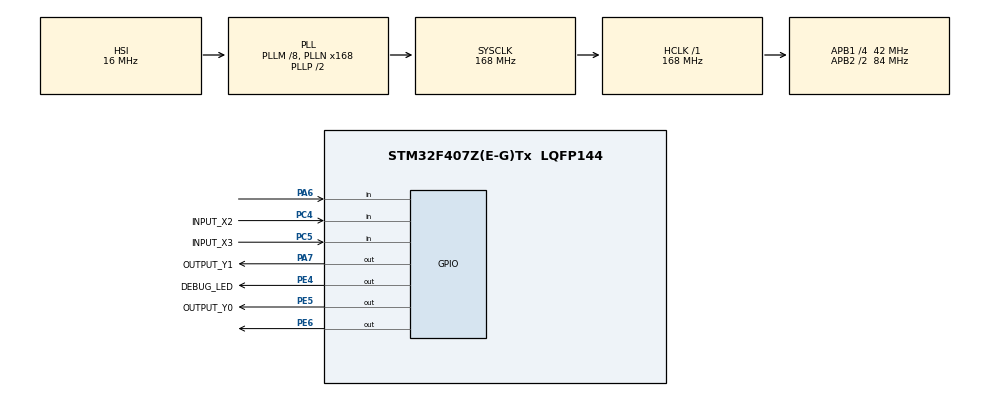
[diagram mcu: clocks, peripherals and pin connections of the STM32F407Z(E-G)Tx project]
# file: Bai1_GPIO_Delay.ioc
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Mcu.Family=STM32F4
Mcu.Name=STM32F407Z(E-G)Tx
Mcu.Package=LQFP144
NVIC.PriorityGroup=NVIC_PRIORITYGROUP_4
PA13.Mode=Serial_Wire
PA13.Signal=SYS_JTMS-SWDIO
PA14.Mode=Serial_Wire
PA14.Signal=SYS_JTCK-SWCLK
PA6.Signal=GPIO_Input
PA7.GPIO_Label=OUTPUT_Y1
PA7.GPIO_PuPd=GPIO_PULLDOWN
PA7.PinState=GPIO_PIN_RESET
PA7.Signal=GPIO_Output
PC4.GPIO_Label=INPUT_X2
PC4.Signal=GPIO_Input
PC5.GPIO_Label=INPUT_X3
PC5.Signal=GPIO_Input
PE4.GPIO_Label=DEBUG_LED
PE4.GPIO_PuPd=GPIO_PULLDOWN
PE4.Signal=GPIO_Output
PE5.GPIO_Label=OUTPUT_Y0
PE5.GPIO_PuPd=GPIO_PULLDOWN
PE5.Signal=GPIO_Output
PE6.Signal=GPIO_Output
PH0-OSC_IN.Mode=HSE-External-Oscillator
PH0-OSC_IN.Signal=RCC_OSC_IN
PH1-OSC_OUT.Mode=HSE-External-Oscillator
PH1-OSC_OUT.Signal=RCC_OSC_OUT
ProjectManager.HeapSize=0x200
ProjectManager.StackSize=0x400
ProjectManager.TargetToolchain=STM32CubeIDE
RCC.48MHZClocksFreq_Value=84000000
RCC.AHBFreq_Value=168000000
RCC.APB1CLKDivider=RCC_HCLK_DIV4
RCC.APB1Freq_Value=42000000
RCC.APB1TimFreq_Value=84000000
RCC.APB2CLKDivider=RCC_HCLK_DIV2
RCC.APB2Freq_Value=84000000
RCC.APB2TimFreq_Value=168000000
RCC.CortexFreq_Value=168000000
RCC.HCLKFreq_Value=168000000
RCC.HSE_VALUE=8000000
RCC.HSI_VALUE=16000000
RCC.LSE_VALUE=32768
RCC.PLLM=8
RCC.PLLN=168
RCC.SYSCLKFreq_VALUE=168000000
RCC.SYSCLKSource=RCC_SYSCLKSOURCE_PLLCLK
RCC.VCOOutputFreq_Value=336000000
board=custom

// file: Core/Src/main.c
/* USER CODE BEGIN Header */
/**
  ******************************************************************************
  * @file           : main.c
  * @brief          : Main program body
  ******************************************************************************
  * @attention
  *
  * <h2><center>&copy; Copyright (c) 2024 STMicroelectronics.
  * All rights reserved.</center></h2>
  *
  * This software component is licensed by ST under BSD 3-Clause license,
  * the "License"; You may not use this file except in compliance with the
  * License. You may obtain a copy of the License at:
  *                        opensource.org/licenses/BSD-3-Clause
  *
  ******************************************************************************
  */
/* USER CODE END Header */
#include "main.h"

void SystemClock_Config(void);
static void MX_GPIO_Init(void);

int main(void)
{

  /* MCU Configuration--------------------------------------------------------*/

  /* Reset of all peripherals, Initializes the Flash interface and the Systick. */
  HAL_Init();

  /* Configure the system clock */
  SystemClock_Config();

  /* Initialize all configured peripherals */
  MX_GPIO_Init();
  /* USER CODE BEGIN 2 */
//   int count = 2;
//   int led_state = 1;   // 0: off  1: on
//   HAL_GPIO_WritePin(DEBUG_LED_GPIO_Port, DEBUG_LED_Pin, 1);

  	 int counter = 5;
  	 int led_state = 0; // 0: red, 1: blue, 2: yellow

  	 HAL_GPIO_WritePin(DEBUG_LED_GPIO_Port, DEBUG_LED_Pin, 1); // red
  	 HAL_GPIO_WritePin(OUTPUT_Y0_GPIO_Port, OUTPUT_Y0_Pin, 0); // blue
  	 HAL_GPIO_WritePin(OUTPUT_Y1_GPIO_Port, OUTPUT_Y1_Pin, 0); // yellow
  /* USER CODE END 2 */

  /* Infinite loop */
  /* USER CODE BEGIN WHILE */
  while (1)
  {

	  if (led_state == 0 && counter <= 0) {         // Red -> Green
		  HAL_GPIO_WritePin(DEBUG_LED_GPIO_Port, DEBUG_LED_Pin, GPIO_PIN_RESET); // Red LED off
		  HAL_GPIO_WritePin(OUTPUT_Y0_GPIO_Port, OUTPUT_Y0_Pin, GPIO_PIN_SET);   // Green LED on
		  counter = 3;
		  led_state = 1;
	  }
	  else if (led_state == 1 && counter <= 0) {    // Green -> Yellow
		  HAL_GPIO_WritePin(OUTPUT_Y0_GPIO_Port, OUTPUT_Y0_Pin, GPIO_PIN_RESET); // Green LED off
		  HAL_GPIO_WritePin(OUTPUT_Y1_GPIO_Port, OUTPUT_Y1_Pin, GPIO_PIN_SET);   // Yellow LED on
		  counter = 1;
		  led_state = 2;
	  }
	  else if (led_state == 2 && counter <= 0) {    // Yellow -> Red
		  HAL_GPIO_WritePin(OUTPUT_Y1_GPIO_Port, OUTPUT_Y1_Pin, GPIO_PIN_RESET); // Yellow LED off
		  HAL_GPIO_WritePin(DEBUG_LED_GPIO_Port, DEBUG_LED_Pin, GPIO_PIN_SET);   // Red LED on
		  counter = 5;
		  led_state = 0;
	  }
	  counter--;
	  HAL_Delay(1000);
    /* USER CODE END WHILE */

  }
}

void SystemClock_Config(void)
{
  RCC_OscInitTypeDef RCC_OscInitStruct = {0};
  RCC_ClkInitTypeDef RCC_ClkInitStruct = {0};

  /** Configure the main internal regulator output voltage
  */
  __HAL_RCC_PWR_CLK_ENABLE();
  __HAL_PWR_VOLTAGESCALING_CONFIG(PWR_REGULATOR_VOLTAGE_SCALE1);
  /** Initializes the RCC Oscillators according to the specified parameters
  * in the RCC_OscInitTypeDef structure.
  */
  RCC_OscInitStruct.OscillatorType = RCC_OSCILLATORTYPE_HSI;
  RCC_OscInitStruct.HSIState = RCC_HSI_ON;
  RCC_OscInitStruct.HSICalibrationValue = RCC_HSICALIBRATION_DEFAULT;
  RCC_OscInitStruct.PLL.PLLState = RCC_PLL_ON;
  RCC_OscInitStruct.PLL.PLLSource = RCC_PLLSOURCE_HSI;
  RCC_OscInitStruct.PLL.PLLM = 8;
  RCC_OscInitStruct.PLL.PLLN = 168;
  RCC_OscInitStruct.PLL.PLLP = RCC_PLLP_DIV2;
  RCC_OscInitStruct.PLL.PLLQ = 4;
  if (HAL_RCC_OscConfig(&RCC_OscInitStruct) != HAL_OK)
  {
    Error_Handler();
  }
  /** Initializes the CPU, AHB and APB buses clocks
  */
  RCC_ClkInitStruct.ClockType = RCC_CLOCKTYPE_HCLK|RCC_CLOCKTYPE_SYSCLK
                              |RCC_CLOCKTYPE_PCLK1|RCC_CLOCKTYPE_PCLK2;
  RCC_ClkInitStruct.SYSCLKSource = RCC_SYSCLKSOURCE_PLLCLK;
  RCC_ClkInitStruct.AHBCLKDivider = RCC_SYSCLK_DIV1;
  RCC_ClkInitStruct.APB1CLKDivider = RCC_HCLK_DIV4;
  RCC_ClkInitStruct.APB2CLKDivider = RCC_HCLK_DIV2;

  if (HAL_RCC_ClockConfig(&RCC_ClkInitStruct, FLASH_LATENCY_5) != HAL_OK)
  {
    Error_Handler();
  }
}

static void MX_GPIO_Init(void)
{
  GPIO_InitTypeDef GPIO_InitStruct = {0};

  /* GPIO Ports Clock Enable */
  __HAL_RCC_GPIOE_CLK_ENABLE();
  __HAL_RCC_GPIOH_CLK_ENABLE();
  __HAL_RCC_GPIOC_CLK_ENABLE();
  __HAL_RCC_GPIOA_CLK_ENABLE();

  /*Configure GPIO pin Output Level */
  HAL_GPIO_WritePin(GPIOE, DEBUG_LED_Pin|OUTPUT_Y0_Pin|OUTPUT_Y1_Pin, GPIO_PIN_RESET);

  /*Configure GPIO pins : DEBUG_LED_Pin OUTPUT_Y0_Pin */
  GPIO_InitStruct.Pin = DEBUG_LED_Pin|OUTPUT_Y0_Pin;
  GPIO_InitStruct.Mode = GPIO_MODE_OUTPUT_PP;
  GPIO_InitStruct.Pull = GPIO_PULLDOWN;
  GPIO_InitStruct.Speed = GPIO_SPEED_FREQ_LOW;
  HAL_GPIO_Init(GPIOE, &GPIO_InitStruct);

  /*Configure GPIO pin : OUTPUT_Y1_Pin */
  GPIO_InitStruct.Pin = OUTPUT_Y1_Pin;
  GPIO_InitStruct.Mode = GPIO_MODE_OUTPUT_PP;
  GPIO_InitStruct.Pull = GPIO_NOPULL;
  GPIO_InitStruct.Speed = GPIO_SPEED_FREQ_LOW;
  HAL_GPIO_Init(OUTPUT_Y1_GPIO_Port, &GPIO_InitStruct);

  /*Configure GPIO pins : INPUT_X2_Pin INPUT_X3_Pin */
  GPIO_InitStruct.Pin = INPUT_X2_Pin|INPUT_X3_Pin;
  GPIO_InitStruct.Mode = GPIO_MODE_INPUT;
  GPIO_InitStruct.Pull = GPIO_NOPULL;
  HAL_GPIO_Init(GPIOC, &GPIO_InitStruct);

}

void Error_Handler(void)
{
  __disable_irq();
  while (1)
  {
  }
}

/************************ (C) COPYRIGHT STMicroelectronics *****END OF FILE****/
